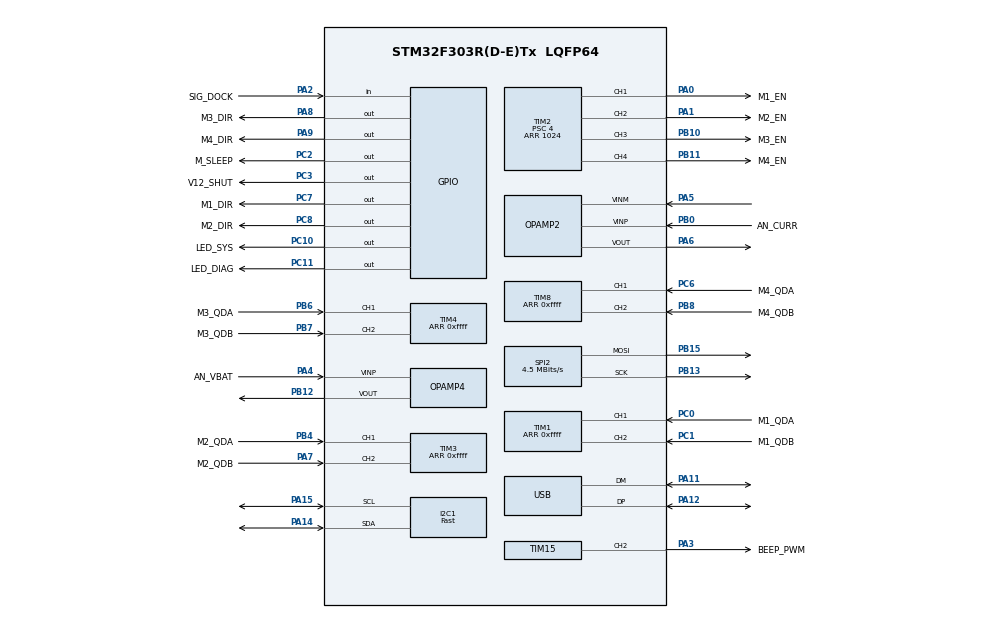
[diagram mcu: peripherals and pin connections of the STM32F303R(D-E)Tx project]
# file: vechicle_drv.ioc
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PB15.GPIO_Mode=GPIO_MODE_AF_PP
PC10.GPIO_PuPd=GPIO_NOPULL
I2C1.I2C_Speed_Mode=I2C_Fast
PB10.GPIO_PuPd=GPIO_NOPULL
SPI2.VirtualType=VM_MASTER
PA15.GPIO_Mode=GPIO_MODE_AF_OD
USB_DEVICE.PID_CDC_FS=0x0001
PA3.GPIO_PuPd=GPIO_NOPULL
PB7.GPIO_FM7=__NULL
PC6.GPIO_Label=M4_QDA
PB6.GPIO_Label=M3_QDA
ADC4.OffsetNumber-0\#ChannelRegularConversion=ADC_OFFSET_NONE
PA3.GPIO_Speed=GPIO_SPEED_FREQ_LOW
PB13.Signal=SPI2_SCK
Dma.SPI2_TX.0.Instance=DMA1_Channel5
PC3.GPIO_Speed=GPIO_SPEED_FREQ_LOW
PB11.GPIO_Speed=GPIO_SPEED_FREQ_LOW
PA3.GPIO_ModeDefaultPP=GPIO_MODE_AF_PP
PA4.Mode=Follower
USB_DEVICE.USBD_MAX_NUM_INTERFACES=1
RCC.APB2TimFreq_Value=72000000
PB6.Signal=S_TIM4_CH1
PC7.Signal=GPIO_Output
PC3.Signal=GPIO_Output
PC1.GPIO_ModeDefaultPP=GPIO_MODE_AF_PP
PA1.GPIO_PuPd=GPIO_NOPULL
OPAMP2.PgaGain=OPAMP_PGA_GAIN_16
PB7.GPIO_ModeDefaultPP=GPIO_MODE_AF_PP
PC1.GPIO_PuPd=GPIO_PULLUP
PB10.GPIO_ModeDefaultPP=GPIO_MODE_AF_PP
TIM15.Channel-PWM\ Generation2\ CH2=TIM_CHANNEL_2
SPI2.CalculateBaudRate=4.5 MBits/s
PC11.GPIO_Speed=GPIO_SPEED_FREQ_LOW
SH.S_TIM4_CH2.0=TIM4_CH2,Encoder_Interface
PA8.Signal=GPIO_Output
PA8.GPIO_ModeDefaultOutputPP=GPIO_MODE_OUTPUT_PP
TIM4.Period=0xffff
PC10.PinState=GPIO_PIN_RESET
PA0.Signal=S_TIM2_CH1_ETR
PC10.GPIO_ModeDefaultOutputPP=GPIO_MODE_OUTPUT_PP
Mcu.Package=LQFP64
TIM2.Prescaler=4
SPI2.Mode=SPI_MODE_MASTER
PB6.GPIO_FM6=__NULL
PC6.GPIO_PuPd=GPIO_PULLUP
Dma.SPI2_TX.0.PeriphInc=DMA_PINC_DISABLE
SH.S_TIM4_CH1.0=TIM4_CH1,Encoder_Interface
RCC.APB1TimFreq_Value=72000000
TIM1.Period=0xffff
PB13.Mode=TX_Only_Simplex_Unidirect_Master
PA4.GPIO_Label=AN_VBAT
PC6.GPIO_Speed=GPIO_SPEED_FREQ_LOW
PA8.GPIO_Speed=GPIO_SPEED_FREQ_LOW
PF1-OSC_OUT.Signal=RCC_OSC_OUT
PA5.Mode=PGA Connected
PA2.GPIO_Mode=GPIO_MODE_INPUT
PB7.GPIO_PuPd=GPIO_PULLUP
PC7.GPIO_ModeDefaultOutputPP=GPIO_MODE_OUTPUT_PP
PA9.GPIO_Label=M4_DIR
PB6.GPIO_PuPd=GPIO_PULLUP
NVIC.USB_LP_CAN_RX0_IRQn=true\:0\:0\:false\:false\:true\:false\:true
PB8.GPIO_PuPd=GPIO_PULLUP
PC2.Signal=GPIO_Output
PC6.Signal=S_TIM8_CH1
PB11.GPIO_Label=M4_EN
TIM4.IC2Filter=4
PC0.Signal=S_TIM1_CH1
RCC.APB1CLKDivider=RCC_HCLK_DIV2
SH.S_TIM8_CH2.0=TIM8_CH2,Encoder_Interface
PB11.GPIO_ModeDefaultPP=GPIO_MODE_AF_PP
PA0.GPIO_Speed=GPIO_SPEED_FREQ_LOW
PB8.GPIO_Label=M4_QDB
PA8.GPIO_Label=M3_DIR
ADC2.ContinuousConvMode=ENABLE
USB_DEVICE.VID=0x1209
TIM3.IC2Filter=4
USB_DEVICE.PRODUCT_STRING_CDC_FS=MOTOR_DRV
PA9.Signal=GPIO_Output
I2C1.Timing=0x0000020B
PA9.PinState=GPIO_PIN_RESET
PC0.GPIO_ModeDefaultPP=GPIO_MODE_AF_PP
PB4.GPIO_PuPd=GPIO_PULLUP
PC7.GPIO_PuPd=GPIO_NOPULL
PB10.Signal=S_TIM2_CH3
ARM.CMSIS.5.6.0.CMSISJjCORE=true
PA5.Signal=OPAMP2_VINM
TIM3.IC1Filter=4
ADC2.OffsetNumber-0\#ChannelRegularConversion=ADC_OFFSET_NONE
SH.S_TIM8_CH1.0=TIM8_CH1,Encoder_Interface
PA7.GPIO_Speed=GPIO_SPEED_FREQ_LOW
PB4.GPIO_Label=M2_QDA
ADC4.NbrOfConversionFlag=1
RCC.PRESCALERUSB=RCC_USBCLKSOURCE_PLL_DIV1_5
PA0.GPIO_ModeDefaultPP=GPIO_MODE_AF_PP
PA1.GPIO_Label=M2_EN
TIM1.IC2Filter=4
PC1.GPIO_Speed=GPIO_SPEED_FREQ_LOW
PC11.GPIO_ModeDefaultOutputPP=GPIO_MODE_OUTPUT_PP
TIM2.Period=1024
TIM8.Period=0xffff
PC7.GPIO_Label=M1_DIR
PA4.Signal=OPAMP4_VINP
ADC2.NbrOfConversionFlag=1
TIM1.IC1Filter=4
PA11.Signal=USB_DM
SH.S_TIM2_CH1_ETR.0=TIM2_CH1,PWM Generation1 CH1
ProjectManager.HeapSize=0x200
PA15.GPIO_PuPdOD=GPIO_PULLUP
NVIC.PriorityGroup=NVIC_PRIORITYGROUP_4
USB_DEVICE.APP_RX_DATA_SIZE=512
TIM2.AutoReloadPreload=TIM_AUTORELOAD_PRELOAD_ENABLE
PC3.GPIO_Label=V12_SHUT
SPI2.DataSize=SPI_DATASIZE_8BIT
OPAMP4.SelfCalibration=Enable
PC3.GPIO_ModeDefaultOutputPP=GPIO_MODE_OUTPUT_OD
PF0-OSC_IN.Signal=RCC_OSC_IN
PB6.GPIO_Speed=GPIO_SPEED_FREQ_LOW
PB0.Signal=OPAMP2_VINP
PC1.Signal=S_TIM1_CH2
Mcu.Family=STM32F3
VP_ADC4_OPAMP_OUT4.Mode=IN3-OPAMP4-Single-Ended
PA2.GPIO_PuPd=GPIO_NOPULL
PA6.Mode=PGA Connected
Dma.SPI2_TX.0.MemInc=DMA_MINC_ENABLE
USB_DEVICE.CLASS_NAME_FS=CDC
RCC.CortexFreq_Value=72000000
NVIC.DMA1_Channel5_IRQn=true\:0\:0\:false\:false\:true\:false\:true
PB10.GPIO_Speed=GPIO_SPEED_FREQ_LOW
ADC2.Channel-0\#ChannelRegularConversion=ADC_CHANNEL_3
PC10.Signal=GPIO_Output
TIM4.EncoderMode=TIM_ENCODERMODE_TI12
RCC.SYSCLKSourceVirtual=RCC_SYSCLKSOURCE_PLLCLK
PA0.GPIO_Label=M1_EN
TIM3.EncoderMode=TIM_ENCODERMODE_TI12
PC0.GPIO_Label=M1_QDA
TIM1.EncoderMode=TIM_ENCODERMODE_TI12
TIM8.EncoderMode=TIM_ENCODERMODE_TI12
PA11.Mode=Device
PB0.GPIO_Label=AN_CURR
PC10.GPIO_Speed=GPIO_SPEED_FREQ_LOW
PC2.GPIO_Speed=GPIO_SPEED_FREQ_LOW
PB11.GPIO_PuPd=GPIO_NOPULL
TIM2.Channel-PWM\ Generation2\ CH2=TIM_CHANNEL_2
PB11.Signal=S_TIM2_CH4
USB.lpm_enable=DISABLE
PB15.Signal=SPI2_MOSI
ProjectManager.StackSize=0x400
PC3.PinState=GPIO_PIN_RESET
SH.S_TIM15_CH2.0=TIM15_CH2,PWM Generation2 CH2
Dma.SPI2_TX.0.MemDataAlignment=DMA_MDATAALIGN_HALFWORD
ADC4.Channel-0\#ChannelRegularConversion=ADC_CHANNEL_3
USB_DEVICE.MANUFACTURER_STRING=tensor-robotics
PC11.GPIO_PuPd=GPIO_NOPULL
PA12.Signal=USB_DP
TIM15.Prescaler=15
PA1.GPIO_ModeDefaultPP=GPIO_MODE_AF_PP
PC6.GPIO_ModeDefaultPP=GPIO_MODE_AF_PP
RCC.HCLKFreq_Value=72000000
TIM3.Period=0xffff
TIM2.ClockDivision=TIM_CLOCKDIVISION_DIV4
OPAMP2.SelfCalibration=Enable
Dma.SPI2_TX.0.Mode=DMA_NORMAL
RCC.AHBFreq_Value=72000000
SPI2.BaudRatePrescaler=SPI_BAUDRATEPRESCALER_8
RCC.HSE_VALUE=8000000
PB8.GPIO_ModeDefaultPP=GPIO_MODE_AF_PP
PA4.GPIO_PuPd=GPIO_NOPULL
PA15.Mode=I2C
VP_ADC2_OPAMP_OUT2.Mode=IN3-OPAMP2-Single-Ended
RCC.PLLMUL=RCC_PLL_MUL9
PA14.Mode=I2C
ADC4.Rank-0\#ChannelRegularConversion=1
OPAMP4.UserTrimming=OPAMP_TRIMMING_USER
PC11.GPIO_Label=LED_DIAG
PC7.PinState=GPIO_PIN_RESET
PB7.Signal=S_TIM4_CH2
TIM2.Channel-PWM\ Generation1\ CH1=TIM_CHANNEL_1
SH.S_TIM3_CH1.0=TIM3_CH1,Encoder_Interface
PB7.GPIO_Label=M3_QDB
ADC2.Offset-0\#ChannelRegularConversion=0
PA6.Signal=OPAMP2_VOUT
PB12.Mode=Follower
PB0.GPIO_Mode=GPIO_MODE_ANALOG
PB15.GPIO_PuPd=GPIO_NOPULL
RCC.EnbaleCSS=true
PA0.GPIO_PuPd=GPIO_NOPULL
PA2.GPIO_Label=SIG_DOCK
PA15.Signal=I2C1_SCL
ADC2.SamplingTime-0\#ChannelRegularConversion=ADC_SAMPLETIME_1CYCLE_5
SPI2.CLKPhase=SPI_PHASE_2EDGE
TIM4.IC1Filter=4
PA14.GPIO_PuPdOD=GPIO_PULLUP
PC2.GPIO_ModeDefaultOutputPP=GPIO_MODE_OUTPUT_PP
SPI2.Direction=SPI_DIRECTION_2LINES
ADC2.Rank-0\#ChannelRegularConversion=1
PC0.GPIO_PuPd=GPIO_PULLUP
PF1-OSC_OUT.Mode=HSE-External-Oscillator
Dma.Request0=SPI2_TX
PA14.GPIO_Mode=GPIO_MODE_AF_OD
PC2.GPIO_Label=M_SLEEP
PA8.PinState=GPIO_PIN_RESET
PB4.Signal=S_TIM3_CH1
PA3.Signal=S_TIM15_CH2
PB7.GPIO_Speed=GPIO_SPEED_FREQ_LOW
TIM2.Channel-PWM\ Generation4\ CH4=TIM_CHANNEL_4
PC10.GPIO_Label=LED_SYS
USB_DEVICE.VirtualModeFS=Cdc_FS
PA14.GPIO_Speed=GPIO_SPEED_FREQ_HIGH
PB8.GPIO_FM8=__NULL
PC11.Signal=GPIO_Output
PC8.Signal=GPIO_Output
ARM.CMSIS.5.6.0.CMSISJjDSP=Library
OPAMP2.UserTrimming=OPAMP_TRIMMING_USER
ADC2.EnableRegularConversion=ENABLE
PA9.GPIO_PuPd=GPIO_NOPULL
PA7.GPIO_ModeDefaultPP=GPIO_MODE_AF_PP
PC8.GPIO_Label=M2_DIR
SH.S_TIM2_CH2.0=TIM2_CH2,PWM Generation2 CH2
PC0.GPIO_Speed=GPIO_SPEED_FREQ_LOW
SH.S_TIM1_CH1.0=TIM1_CH1,Encoder_Interface
ProjectManager.TargetToolchain=Makefile
PB10.GPIO_Label=M3_EN
VP_USB_DEVICE_VS_USB_DEVICE_CDC_FS.Mode=CDC_FS
RCC.USBFreq_Value=48000000
ADC4.Offset-0\#ChannelRegularConversion=0
RCC.LSE_VALUE=32768
PA1.Signal=S_TIM2_CH2
PA7.GPIO_PuPd=GPIO_PULLUP
PB6.GPIO_ModeDefaultPP=GPIO_MODE_AF_PP
PF0-OSC_IN.Mode=HSE-External-Oscillator
SH.S_TIM3_CH2.0=TIM3_CH2,Encoder_Interface
PB4.GPIO_ModeDefaultPP=GPIO_MODE_AF_PP
PB0.Mode=PGA Connected
board=custom
PC7.GPIO_Speed=GPIO_SPEED_FREQ_LOW
USB.low_power_enable=DISABLE
PB15.Mode=TX_Only_Simplex_Unidirect_Master
PA4.GPIO_Mode=GPIO_MODE_ANALOG
PB4.GPIO_Speed=GPIO_SPEED_FREQ_LOW
RCC.APB2Freq_Value=72000000
PC11.PinState=GPIO_PIN_RESET
SH.S_TIM1_CH2.0=TIM1_CH2,Encoder_Interface
SH.S_TIM2_CH3.0=TIM2_CH3,PWM Generation3 CH3
Dma.SPI2_TX.0.PeriphDataAlignment=DMA_PDATAALIGN_HALFWORD
PA1.GPIO_Speed=GPIO_SPEED_FREQ_LOW
PB15.GPIO_Speed=GPIO_SPEED_FREQ_HIGH
PC1.GPIO_Label=M1_QDB
TIM2.Channel-PWM\ Generation3\ CH3=TIM_CHANNEL_3
PC2.GPIO_PuPd=GPIO_NOPULL
Mcu.Name=STM32F303R(D-E)Tx
ADC4.SamplingTime-0\#ChannelRegularConversion=ADC_SAMPLETIME_1CYCLE_5
PA2.Signal=GPIO_Input
PA9.GPIO_ModeDefaultOutputPP=GPIO_MODE_OUTPUT_PP
Dma.SPI2_TX.0.Priority=DMA_PRIORITY_LOW
RCC.SYSCLKFreq_VALUE=72000000
TIM8.IC1Filter=4
PA7.GPIO_Label=M2_QDB
PC2.PinState=GPIO_PIN_RESET
PA12.Mode=Device
PA15.GPIO_Speed=GPIO_SPEED_FREQ_HIGH
USB_DEVICE.APP_TX_DATA_SIZE=512
PA14.Signal=I2C1_SDA
SH.S_TIM2_CH4.0=TIM2_CH4,PWM Generation4 CH4
RCC.HSI_VALUE=8000000
PA8.GPIO_PuPd=GPIO_NOPULL
TIM8.IC2Filter=4
PA9.GPIO_Speed=GPIO_SPEED_FREQ_LOW
PB8.Signal=S_TIM8_CH2
Dma.SPI2_TX.0.Direction=DMA_MEMORY_TO_PERIPH
RCC.APB1Freq_Value=36000000
PB8.GPIO_Speed=GPIO_SPEED_FREQ_LOW
USB_DEVICE.VirtualMode=Cdc
PB12.Signal=OPAMP4_VOUT
PB0.GPIO_PuPd=GPIO_NOPULL
PC3.GPIO_PuPd=GPIO_NOPULL
PA3.GPIO_Label=BEEP_PWM
PA7.Signal=S_TIM3_CH2

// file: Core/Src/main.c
/* USER CODE BEGIN Header */
/**
  ******************************************************************************
  * @file           : main.c
  * @brief          : Main program body
  ******************************************************************************
  * @attention
  *
  * <h2><center>&copy; Copyright (c) 2020 STMicroelectronics.
  * All rights reserved.</center></h2>
  *
  * This software component is licensed by ST under Ultimate Liberty license
  * SLA0044, the "License"; You may not use this file except in compliance with
  * the License. You may obtain a copy of the License at:
  *                             www.st.com/SLA0044
  *
  ******************************************************************************
  */
/* USER CODE END Header */

#include "main.h"
#include "adc.h"
#include "dma.h"
#include "i2c.h"
#include "opamp.h"
#include "spi.h"
#include "tim.h"
#include "usb_device.h"
#include "gpio.h"

/* USER CODE BEGIN Includes */
#include "usbd_cdc_if.h"
#include "servo.h"
#include "ws2813.h"
/* USER CODE END Includes */

void SystemClock_Config(void);

int main(void)
{

  /* MCU Configuration--------------------------------------------------------*/

  /* Reset of all peripherals, Initializes the Flash interface and the Systick. */
  HAL_Init();

  /* Configure the system clock */
  SystemClock_Config();

  /* Initialize all configured peripherals */
  MX_GPIO_Init();
  MX_DMA_Init();
  MX_TIM1_Init();
  MX_TIM2_Init();
  MX_TIM3_Init();
  MX_TIM4_Init();
  MX_USB_DEVICE_Init();
  MX_I2C1_Init();
  MX_SPI2_Init();
  MX_TIM8_Init();
  MX_ADC2_Init();
  MX_ADC4_Init();
  MX_OPAMP2_Init();
  MX_OPAMP4_Init();
  MX_TIM15_Init();
  /* USER CODE BEGIN 2 */

  HAL_ADCEx_Calibration_Start(&hadc2, ADC_SINGLE_ENDED);
  HAL_ADCEx_Calibration_Start(&hadc4, ADC_SINGLE_ENDED);

  HAL_OPAMP_Start(&hopamp2);
  HAL_OPAMP_Start(&hopamp4);

  HAL_TIM_PWM_Start(&htim2, TIM_CHANNEL_1);
  HAL_TIM_PWM_Start(&htim2, TIM_CHANNEL_2);
  HAL_TIM_PWM_Start(&htim2, TIM_CHANNEL_3);
  HAL_TIM_PWM_Start(&htim2, TIM_CHANNEL_4);

  __HAL_TIM_SET_COMPARE(&htim2, TIM_CHANNEL_1, 0);
  __HAL_TIM_SET_COMPARE(&htim2, TIM_CHANNEL_2, 0);
  __HAL_TIM_SET_COMPARE(&htim2, TIM_CHANNEL_3, 0);
  __HAL_TIM_SET_COMPARE(&htim2, TIM_CHANNEL_4, 0);

  HAL_GPIO_WritePin(M1_DIR_GPIO_Port, M1_DIR_Pin, 0);
  HAL_GPIO_WritePin(M2_DIR_GPIO_Port, M2_DIR_Pin, 0);
  HAL_GPIO_WritePin(M3_DIR_GPIO_Port, M3_DIR_Pin, 0);
  HAL_GPIO_WritePin(M4_DIR_GPIO_Port, M4_DIR_Pin, 0);

  HAL_GPIO_WritePin(M_SLEEP_GPIO_Port, M_SLEEP_Pin, 1);

  HAL_TIM_PWM_Start(&htim15, TIM_CHANNEL_2);

  HAL_TIM_Encoder_Start(&htim1, TIM_CHANNEL_ALL);
  HAL_TIM_Encoder_Start(&htim3, TIM_CHANNEL_ALL);
  HAL_TIM_Encoder_Start(&htim4, TIM_CHANNEL_ALL);
  HAL_TIM_Encoder_Start(&htim8, TIM_CHANNEL_ALL);

  servo_init();

  // servo_cmd(100, 0, 0, 0);

  ws2813_init();

  HAL_GPIO_WritePin(V12_SHUT_GPIO_Port, V12_SHUT_Pin, 1);

  /* USER CODE END 2 */

  /* Infinite loop */
  while (1)
  {

    /* USER CODE BEGIN 3 */

    cdc_rx_tick();
  }
  /* USER CODE END 3 */
}

void SystemClock_Config(void)
{
  LL_FLASH_SetLatency(LL_FLASH_LATENCY_2);

   if(LL_FLASH_GetLatency() != LL_FLASH_LATENCY_2)
  {
  Error_Handler();
  }
  LL_RCC_HSE_Enable();

   /* Wait till HSE is ready */
  while(LL_RCC_HSE_IsReady() != 1)
  {

  }
  LL_RCC_HSI_Enable();

   /* Wait till HSI is ready */
  while(LL_RCC_HSI_IsReady() != 1)
  {

  }
  LL_RCC_HSI_SetCalibTrimming(16);
  LL_RCC_HSE_EnableCSS();
  LL_RCC_PLL_ConfigDomain_SYS(LL_RCC_PLLSOURCE_HSE, LL_RCC_PLL_MUL_9, LL_RCC_PREDIV_DIV_1);
  LL_RCC_PLL_Enable();

   /* Wait till PLL is ready */
  while(LL_RCC_PLL_IsReady() != 1)
  {

  }
  LL_RCC_SetAHBPrescaler(LL_RCC_SYSCLK_DIV_1);
  LL_RCC_SetAPB1Prescaler(LL_RCC_APB1_DIV_2);
  LL_RCC_SetAPB2Prescaler(LL_RCC_APB1_DIV_1);
  LL_RCC_SetSysClkSource(LL_RCC_SYS_CLKSOURCE_PLL);

   /* Wait till System clock is ready */
  while(LL_RCC_GetSysClkSource() != LL_RCC_SYS_CLKSOURCE_STATUS_PLL)
  {

  }
  LL_SetSystemCoreClock(72000000);

   /* Update the time base */
  if (HAL_InitTick (TICK_INT_PRIORITY) != HAL_OK)
  {
    Error_Handler();
  };
  LL_RCC_SetI2CClockSource(LL_RCC_I2C1_CLKSOURCE_HSI);
  LL_RCC_SetTIMClockSource(LL_RCC_TIM1_CLKSOURCE_PCLK2);
  LL_RCC_SetTIMClockSource(LL_RCC_TIM8_CLKSOURCE_PCLK2);
  LL_RCC_SetTIMClockSource(LL_RCC_TIM15_CLKSOURCE_PCLK2);
  LL_RCC_SetTIMClockSource(LL_RCC_TIM2_CLKSOURCE_PCLK1);
  LL_RCC_SetTIMClockSource(LL_RCC_TIM34_CLKSOURCE_PCLK1);
  LL_RCC_SetUSBClockSource(LL_RCC_USB_CLKSOURCE_PLL_DIV_1_5);
  LL_RCC_SetADCClockSource(LL_RCC_ADC12_CLKSRC_PLL_DIV_1);
  LL_RCC_SetADCClockSource(LL_RCC_ADC34_CLKSRC_PLL_DIV_1);
}

void Error_Handler(void)
{
}

/************************ (C) COPYRIGHT STMicroelectronics *****END OF FILE****/
